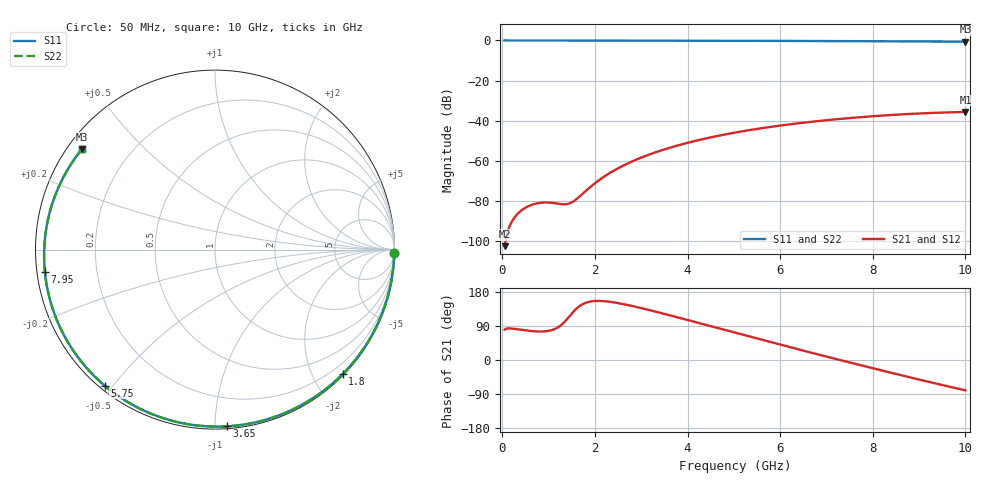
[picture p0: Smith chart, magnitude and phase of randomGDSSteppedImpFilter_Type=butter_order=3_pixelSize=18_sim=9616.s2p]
! freq	dB(S11)	phase(S11)	dB(S12)	phase(S12)
!  dB(S21)	phase(S21)	dB(S22)	phase(S22)
!S-par simulation data
#  GHz  S  DB  R 50
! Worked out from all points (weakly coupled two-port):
!   200 points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, 50 MHz to 10 GHz, reference 50 ohm
!   highest |S21| = -35.63 dB at 10 GHz (marker M1); lowest = -102.5 dB at 50 MHz (marker M2)
!   lowest |S11| = -0.6 dB at 10 GHz (marker M3), VSWR 27.13, Z = 2.05 + j16.7 ohm
!   |S11| at or under -10 dB: nowhere
!   |S22| runs from -0.6 to 0.0 dB; largest |S21 - S12| = 0
!   S11 on the Smith chart (normalised r, x): 50 MHz: 2, -95; 1.8 GHz: 0.02, -2.46; 3.65 GHz: 0.01, -1.07; 5.75 GHz: 0.02, -0.48; 7.95 GHz: 0.02, -0.07; 10 GHz: 0.04, +0.33
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0.05  -0.00 -1.2  -102.52 80.1  -102.52 80.1  -0.00 -1.2
0.45  -0.02 -11.2  -84.09 79.0  -84.09 79.0  -0.02 -11.2
0.8  -0.03 -19.9  -80.98 75.1  -80.98 75.1  -0.03 -19.9
1.55  -0.05 -38.2  -80.00 129.4  -80.00 129.4  -0.05 -38.2
1.75  -0.05 -43.0  -76.10 148.3  -76.10 148.3  -0.05 -43.0
1.8  -0.06 -44.2  -75.06 150.8  -75.06 150.8  -0.06 -44.2
2.15  -0.07 -52.5  -68.62 155.7  -68.62 155.7  -0.07 -52.5
2.5  -0.08 -60.6  -63.70 150.2  -63.70 150.2  -0.08 -60.6
2.9  -0.09 -69.6  -59.32 139.9  -59.32 139.9  -0.09 -69.6
3.4  -0.11 -80.7  -55.03 124.8  -55.03 124.8  -0.11 -80.7
3.65  -0.11 -86.1  -53.24 116.9  -53.24 116.9  -0.11 -86.1
4.35  -0.14 -100.9  -49.07 94.1  -49.07 94.1  -0.14 -100.9
5.05  -0.17 -115.1  -45.82 71.2  -45.82 71.2  -0.17 -115.1
5.75  -0.21 -129.1  -43.23 48.5  -43.23 48.5  -0.21 -129.1
6.7  -0.28 -147.7  -40.47 18.4  -40.47 18.4  -0.28 -147.7
7.35  -0.33 -160.4  -38.98 -1.9  -38.98 -1.9  -0.33 -160.4
7.95  -0.39 -172.4  -37.85 -20.2  -37.85 -20.2  -0.39 -172.4
8.35  -0.43 179.4  -37.22 -32.3  -37.22 -32.3  -0.43 179.4
8.8  -0.49 170.0  -36.62 -45.7  -36.62 -45.7  -0.48 170.0
9.2  -0.53 161.3  -36.19 -57.5  -36.19 -57.5  -0.53 161.3
9.6  -0.59 152.4  -35.87 -69.0  -35.87 -69.0  -0.59 152.4
10  -0.64 143.1  -35.63 -80.1  -35.63 -80.1  -0.64 143.1
